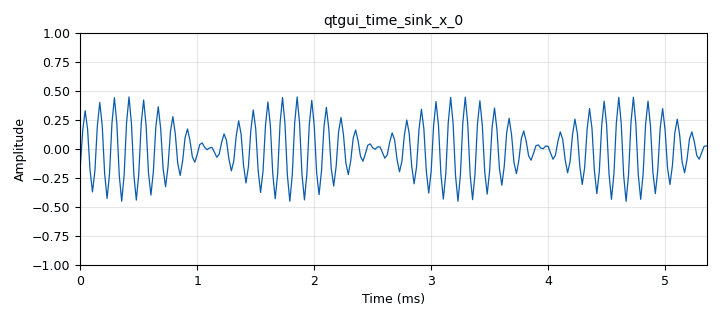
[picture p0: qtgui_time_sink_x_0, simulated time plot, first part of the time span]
options:
  parameters:
    author: M Dzakwan Falih
    copyright: '(C) 2020 '
    description: Demo Block add constant
    generate_options: qt_gui
    id: addconstant
    output_language: python
    title: add constant
  states: {}

blocks:
- name: samp_rate
  id: variable
  parameters:
    value: '48000'
  states: {}
- name: analog_sig_source_x_0
  id: analog_sig_source_x
  parameters:
    amp: '0.9'
    freq: '350'
    offset: '0'
    phase: '0'
    samp_rate: samp_rate
    type: float
    waveform: analog.GR_COS_WAVE
  states: {}
- name: analog_sig_source_x_1
  id: analog_sig_source_x
  parameters:
    amp: '0.5'
    freq: '8000'
    offset: '0'
    phase: '0'
    samp_rate: samp_rate
    type: float
    waveform: analog.GR_COS_WAVE
  states: {}
- name: blocks_add_const_vxx_0
  id: blocks_add_const_vxx
  parameters:
    const: '0'
    type: float
  states: {}
- name: blocks_multiply_xx_0
  id: blocks_multiply_xx
  parameters:
    type: float
  states: {}
- name: blocks_throttle_0
  id: blocks_throttle
  parameters:
    samples_per_second: samp_rate
    type: float
  states: {}
- name: qtgui_time_sink_x_0
  id: qtgui_time_sink_x
  parameters:
    size: '1024'
    srate: samp_rate
    type: float
  states: {}

connections:
- [analog_sig_source_x_0, '0', blocks_add_const_vxx_0, '0']
- [analog_sig_source_x_1, '0', blocks_multiply_xx_0, '1']
- [blocks_add_const_vxx_0, '0', blocks_multiply_xx_0, '0']
- [blocks_multiply_xx_0, '0', blocks_throttle_0, '0']
- [blocks_throttle_0, '0', qtgui_time_sink_x_0, '0']

metadata:
  file_format: 1
